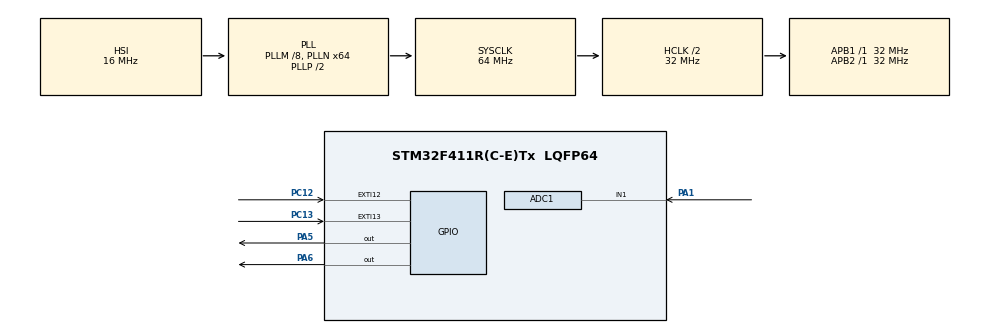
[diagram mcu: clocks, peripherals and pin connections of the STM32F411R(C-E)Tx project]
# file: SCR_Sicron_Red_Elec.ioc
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ADC1.Channel-0\#ChannelRegularConversion=ADC_CHANNEL_1
ADC1.NbrOfConversionFlag=1
ADC1.Rank-0\#ChannelRegularConversion=1
ADC1.SamplingTime-0\#ChannelRegularConversion=ADC_SAMPLETIME_3CYCLES
ADC1.master=1
Dma.ADC1.0.Direction=DMA_PERIPH_TO_MEMORY
Dma.ADC1.0.FIFOMode=DMA_FIFOMODE_DISABLE
Dma.ADC1.0.Instance=DMA2_Stream0
Dma.ADC1.0.MemDataAlignment=DMA_MDATAALIGN_HALFWORD
Dma.ADC1.0.MemInc=DMA_MINC_ENABLE
Dma.ADC1.0.Mode=DMA_NORMAL
Dma.ADC1.0.PeriphDataAlignment=DMA_PDATAALIGN_HALFWORD
Dma.ADC1.0.PeriphInc=DMA_PINC_DISABLE
Dma.ADC1.0.Priority=DMA_PRIORITY_LOW
Dma.Request0=ADC1
Mcu.Family=STM32F4
Mcu.Name=STM32F411R(C-E)Tx
Mcu.Package=LQFP64
NVIC.ADC_IRQn=true\:0\:0\:false\:false\:true\:true\:true\:true
NVIC.DMA2_Stream0_IRQn=true\:0\:0\:false\:false\:true\:false\:true\:true
NVIC.EXTI15_10_IRQn=true\:0\:0\:false\:false\:true\:true\:true\:true
NVIC.PriorityGroup=NVIC_PRIORITYGROUP_0
NVIC.TIM2_IRQn=true\:0\:0\:false\:false\:true\:true\:true\:true
PA1.Signal=ADCx_IN1
PA13.Mode=Serial_Wire
PA13.Signal=SYS_JTMS-SWDIO
PA14.Mode=Serial_Wire
PA14.Signal=SYS_JTCK-SWCLK
PA5.Signal=GPIO_Output
PA6.Signal=GPIO_Output
PC12.GPIO_ModeDefaultEXTI=GPIO_MODE_IT_FALLING
PC12.Signal=GPXTI12
PC13-ANTI_TAMP.Signal=GPXTI13
PH0\ -\ OSC_IN.Mode=HSE-External-Oscillator
PH0\ -\ OSC_IN.Signal=RCC_OSC_IN
PH1\ -\ OSC_OUT.Mode=HSE-External-Oscillator
PH1\ -\ OSC_OUT.Signal=RCC_OSC_OUT
ProjectManager.HeapSize=0x200
ProjectManager.StackSize=0x400
ProjectManager.TargetToolchain=STM32CubeIDE
RCC.48MHZClocksFreq_Value=32000000
RCC.AHBCLKDivider=RCC_SYSCLK_DIV2
RCC.AHBFreq_Value=32000000
RCC.APB1Freq_Value=32000000
RCC.APB1TimFreq_Value=32000000
RCC.APB2Freq_Value=32000000
RCC.APB2TimFreq_Value=32000000
RCC.CortexFreq_Value=32000000
RCC.FLatency-AdvancedSettings=FLASH_LATENCY_1
RCC.HCLKFreq_Value=32000000
RCC.HSE_VALUE=25000000
RCC.HSI_VALUE=16000000
RCC.PLLM=8
RCC.PLLN=64
RCC.SYSCLKFreq_VALUE=64000000
RCC.SYSCLKSource=RCC_SYSCLKSOURCE_PLLCLK
RCC.VCOOutputFreq_Value=128000000
SH.ADCx_IN1.0=ADC1_IN1,IN1
TIM2.Period=16
TIM2.Prescaler=100
VP_TIM2_VS_ClockSourceINT.Mode=Internal
board=NUCLEO-F411RE

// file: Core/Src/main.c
/* USER CODE BEGIN Header */
/**
  ******************************************************************************
  * @file           : main.c
  * @brief          : Main program body
  ******************************************************************************
  * @attention
  *
  * Copyright (c) 2023 STMicroelectronics.
  * All rights reserved.
  *
  * This software is licensed under terms that can be found in the LICENSE file
  * in the root directory of this software component.
  * If no LICENSE file comes with this software, it is provided AS-IS.
  *
  ******************************************************************************
  */
/* USER CODE END Header */
#include "main.h"

ADC_HandleTypeDef hadc1;
DMA_HandleTypeDef hdma_adc1;

TIM_HandleTypeDef htim2;

void SystemClock_Config(void);
static void MX_GPIO_Init(void);
static void MX_DMA_Init(void);
static void MX_ADC1_Init(void);
static void MX_TIM2_Init(void);

/* USER CODE BEGIN 0 */
uint32_t dato_leido = 0;
uint32_t Ciclo_Trabajo = 0;
uint32_t Ciclo_Trabajo_Inv = 0;
uint8_t dato2 = 0;
/* USER CODE END 0 */

int main(void)
{

  /* MCU Configuration--------------------------------------------------------*/

  /* Reset of all peripherals, Initializes the Flash interface and the Systick. */
  HAL_Init();

  /* Configure the system clock */
  SystemClock_Config();

  /* Initialize all configured peripherals */
  MX_GPIO_Init();
  MX_DMA_Init();
  MX_ADC1_Init();
  MX_TIM2_Init();
  /* USER CODE BEGIN 2 */
  HAL_TIM_Base_Start_IT(&htim2);
  /* USER CODE END 2 */

  /* Infinite loop */
  while (1)
  {

    /* USER CODE BEGIN 3 */
		HAL_ADC_Start_DMA(&hadc1, &dato_leido, 1);
		dato_leido = HAL_ADC_GetValue(&hadc1);
		HAL_ADC_Stop_DMA(&hadc1);
		Ciclo_Trabajo = (dato_leido) * 0.045;
		HAL_GPIO_WritePin(GPIOA, GPIO_PIN_6, GPIO_PIN_RESET);
  }
  /* USER CODE END 3 */
}

void SystemClock_Config(void)
{
  RCC_OscInitTypeDef RCC_OscInitStruct = {0};
  RCC_ClkInitTypeDef RCC_ClkInitStruct = {0};

  /** Configure the main internal regulator output voltage
  */
  __HAL_RCC_PWR_CLK_ENABLE();
  __HAL_PWR_VOLTAGESCALING_CONFIG(PWR_REGULATOR_VOLTAGE_SCALE1);

  /** Initializes the RCC Oscillators according to the specified parameters
  * in the RCC_OscInitTypeDef structure.
  */
  RCC_OscInitStruct.OscillatorType = RCC_OSCILLATORTYPE_HSI;
  RCC_OscInitStruct.HSIState = RCC_HSI_ON;
  RCC_OscInitStruct.HSICalibrationValue = RCC_HSICALIBRATION_DEFAULT;
  RCC_OscInitStruct.PLL.PLLState = RCC_PLL_ON;
  RCC_OscInitStruct.PLL.PLLSource = RCC_PLLSOURCE_HSI;
  RCC_OscInitStruct.PLL.PLLM = 8;
  RCC_OscInitStruct.PLL.PLLN = 64;
  RCC_OscInitStruct.PLL.PLLP = RCC_PLLP_DIV2;
  RCC_OscInitStruct.PLL.PLLQ = 4;
  if (HAL_RCC_OscConfig(&RCC_OscInitStruct) != HAL_OK)
  {
    Error_Handler();
  }

  /** Initializes the CPU, AHB and APB buses clocks
  */
  RCC_ClkInitStruct.ClockType = RCC_CLOCKTYPE_HCLK|RCC_CLOCKTYPE_SYSCLK
                              |RCC_CLOCKTYPE_PCLK1|RCC_CLOCKTYPE_PCLK2;
  RCC_ClkInitStruct.SYSCLKSource = RCC_SYSCLKSOURCE_PLLCLK;
  RCC_ClkInitStruct.AHBCLKDivider = RCC_SYSCLK_DIV2;
  RCC_ClkInitStruct.APB1CLKDivider = RCC_HCLK_DIV1;
  RCC_ClkInitStruct.APB2CLKDivider = RCC_HCLK_DIV1;

  if (HAL_RCC_ClockConfig(&RCC_ClkInitStruct, FLASH_LATENCY_1) != HAL_OK)
  {
    Error_Handler();
  }
}

static void MX_ADC1_Init(void)
{

  ADC_ChannelConfTypeDef sConfig = {0};

  /** Configure the global features of the ADC (Clock, Resolution, Data Alignment and number of conversion)
  */
  hadc1.Instance = ADC1;
  hadc1.Init.ClockPrescaler = ADC_CLOCK_SYNC_PCLK_DIV2;
  hadc1.Init.Resolution = ADC_RESOLUTION_12B;
  hadc1.Init.ScanConvMode = DISABLE;
  hadc1.Init.ContinuousConvMode = DISABLE;
  hadc1.Init.DiscontinuousConvMode = DISABLE;
  hadc1.Init.ExternalTrigConvEdge = ADC_EXTERNALTRIGCONVEDGE_NONE;
  hadc1.Init.ExternalTrigConv = ADC_SOFTWARE_START;
  hadc1.Init.DataAlign = ADC_DATAALIGN_RIGHT;
  hadc1.Init.NbrOfConversion = 1;
  hadc1.Init.DMAContinuousRequests = DISABLE;
  hadc1.Init.EOCSelection = ADC_EOC_SINGLE_CONV;
  if (HAL_ADC_Init(&hadc1) != HAL_OK)
  {
    Error_Handler();
  }

  /** Configure for the selected ADC regular channel its corresponding rank in the sequencer and its sample time.
  */
  sConfig.Channel = ADC_CHANNEL_1;
  sConfig.Rank = 1;
  sConfig.SamplingTime = ADC_SAMPLETIME_3CYCLES;
  if (HAL_ADC_ConfigChannel(&hadc1, &sConfig) != HAL_OK)
  {
    Error_Handler();
  }

}

static void MX_TIM2_Init(void)
{

  TIM_ClockConfigTypeDef sClockSourceConfig = {0};
  TIM_MasterConfigTypeDef sMasterConfig = {0};

  htim2.Instance = TIM2;
  htim2.Init.Prescaler = 100;
  htim2.Init.CounterMode = TIM_COUNTERMODE_UP;
  htim2.Init.Period = 16;
  htim2.Init.ClockDivision = TIM_CLOCKDIVISION_DIV1;
  htim2.Init.AutoReloadPreload = TIM_AUTORELOAD_PRELOAD_DISABLE;
  if (HAL_TIM_Base_Init(&htim2) != HAL_OK)
  {
    Error_Handler();
  }
  sClockSourceConfig.ClockSource = TIM_CLOCKSOURCE_INTERNAL;
  if (HAL_TIM_ConfigClockSource(&htim2, &sClockSourceConfig) != HAL_OK)
  {
    Error_Handler();
  }
  sMasterConfig.MasterOutputTrigger = TIM_TRGO_RESET;
  sMasterConfig.MasterSlaveMode = TIM_MASTERSLAVEMODE_DISABLE;
  if (HAL_TIMEx_MasterConfigSynchronization(&htim2, &sMasterConfig) != HAL_OK)
  {
    Error_Handler();
  }

}

static void MX_DMA_Init(void)
{

  /* DMA controller clock enable */
  __HAL_RCC_DMA2_CLK_ENABLE();

  /* DMA interrupt init */
  /* DMA2_Stream0_IRQn interrupt configuration */
  HAL_NVIC_SetPriority(DMA2_Stream0_IRQn, 0, 0);
  HAL_NVIC_EnableIRQ(DMA2_Stream0_IRQn);

}

static void MX_GPIO_Init(void)
{
  GPIO_InitTypeDef GPIO_InitStruct = {0};

  /* GPIO Ports Clock Enable */
  __HAL_RCC_GPIOC_CLK_ENABLE();
  __HAL_RCC_GPIOH_CLK_ENABLE();
  __HAL_RCC_GPIOA_CLK_ENABLE();

  /*Configure GPIO pin Output Level */
  HAL_GPIO_WritePin(GPIOA, GPIO_PIN_5|GPIO_PIN_6, GPIO_PIN_RESET);

  /*Configure GPIO pin : PC13 */
  GPIO_InitStruct.Pin = GPIO_PIN_13;
  GPIO_InitStruct.Mode = GPIO_MODE_IT_RISING;
  GPIO_InitStruct.Pull = GPIO_NOPULL;
  HAL_GPIO_Init(GPIOC, &GPIO_InitStruct);

  /*Configure GPIO pins : PA5 PA6 */
  GPIO_InitStruct.Pin = GPIO_PIN_5|GPIO_PIN_6;
  GPIO_InitStruct.Mode = GPIO_MODE_OUTPUT_PP;
  GPIO_InitStruct.Pull = GPIO_NOPULL;
  GPIO_InitStruct.Speed = GPIO_SPEED_FREQ_LOW;
  HAL_GPIO_Init(GPIOA, &GPIO_InitStruct);

  /*Configure GPIO pin : PC12 */
  GPIO_InitStruct.Pin = GPIO_PIN_12;
  GPIO_InitStruct.Mode = GPIO_MODE_IT_FALLING;
  GPIO_InitStruct.Pull = GPIO_NOPULL;
  HAL_GPIO_Init(GPIOC, &GPIO_InitStruct);

  /* EXTI interrupt init*/
  HAL_NVIC_SetPriority(EXTI15_10_IRQn, 0, 0);
  HAL_NVIC_EnableIRQ(EXTI15_10_IRQn);

}

/* USER CODE BEGIN 4 */

void HAL_ADC_ConvCpltCallback(ADC_HandleTypeDef *hadc) {

}
void HAL_GPIO_EXTI_Callback(uint16_t GPIO_Pin) {
	dato2 = 0;
}
void HAL_TIM_PeriodElapsedCallback(TIM_HandleTypeDef *htim) {
	dato2++;
	if (Ciclo_Trabajo == dato2) {
		HAL_GPIO_WritePin(GPIOA, GPIO_PIN_6, GPIO_PIN_SET);

		for (int i = 0;   i < 2000; ++i){
			__ASM("NOP");
		}

		HAL_GPIO_WritePin(GPIOA, GPIO_PIN_6, GPIO_PIN_RESET);

	}
}
/* USER CODE END 4 */

void Error_Handler(void)
{
  __disable_irq();
  while (1)
  {
  }
}
